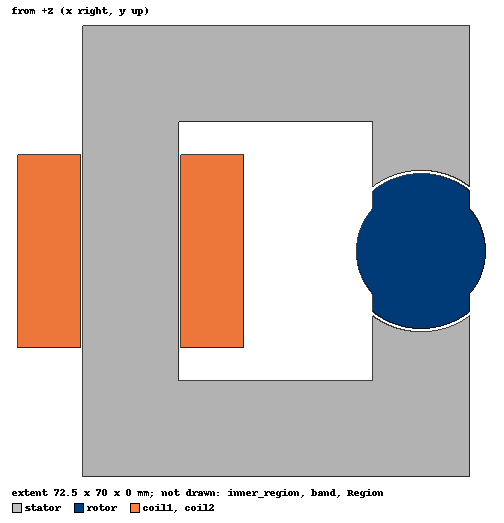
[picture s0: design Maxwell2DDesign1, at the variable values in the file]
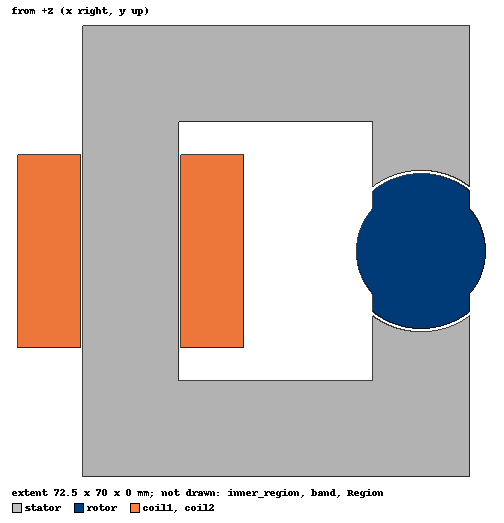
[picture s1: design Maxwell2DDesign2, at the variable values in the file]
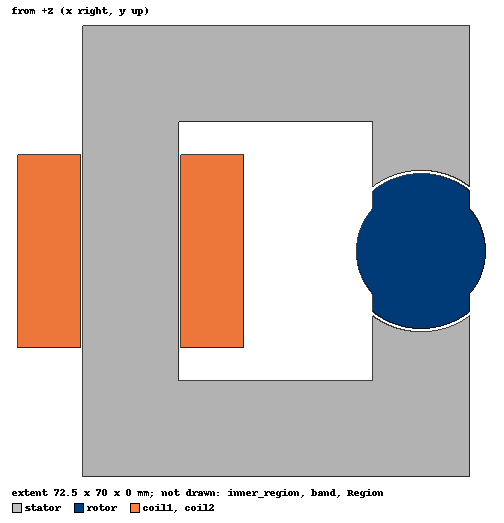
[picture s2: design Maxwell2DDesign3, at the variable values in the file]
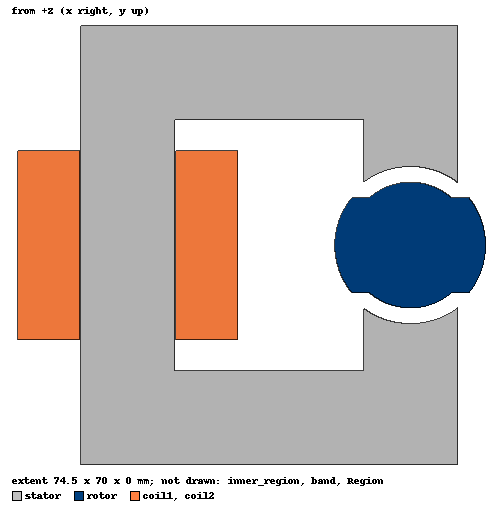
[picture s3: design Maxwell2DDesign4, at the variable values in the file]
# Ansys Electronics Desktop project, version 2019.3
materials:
  vacuum: permittivity=1
  iron: permeability=4000 conductivity=10300000
  copper: permeability=0.999991 conductivity=58000000
  steel_1008: permeability{HUnit=A_per_meter BUnit=tesla curve (0, 0) (159.2, 0.2402) (318.3, 0.8654) (477.5, 1.1106) (636.6, 1.2458) (795.8, 1.331) (1591.5, 1.5) (3183.1, 1.6) (4774.6, 1.683) (6366.2, 1.741) (7957.7, 1.78) (15915.5, 1.905) (31831, 2.025) (47746.5, 2.085) (63662, 2.13) (79577.5, 2.165) (159155, 2.28) (318310, 2.485) (397887, 2.5851)} conductivity=2000000

design Maxwell2DDesign1 (Maxwell 2D, Transient, XY geometry, model units mm)
options: ComputeTransientInductance ModelDepth=0.02meter Multiplier=1
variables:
  current = 3A
  turn = 250
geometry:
  Circle1 = circle(normal=Z, centre=(0mm, 0mm, 0mm), radius=12mm)
  rotor [iron] = circle(normal=Z, centre=(0mm, 0mm, 0mm), radius=10mm)
  Rectangle1 = rectangle(corner=(-7.5mm, 16mm, 0mm), x_size=15mm, y_size=-33mm)
  Rectangle1.intersect(Circle1)
  rotor.unite(Rectangle1)
  stator [iron] = rectangle(corner=(-52.5mm, 35mm, 0mm), x_size=60mm, y_size=-70mm)
  Rectangle3 = rectangle(corner=(-37.5mm, 20mm, 0mm), x_size=30mm, y_size=-40mm)
  stator.subtract(Rectangle3)
  Circle2 = circle(normal=Z, centre=(0mm, 0mm, 0mm), radius=12.5mm)
  stator.subtract(Circle2)
  coil1 [copper] = rectangle(corner=(-62.5mm, -15mm, 0mm), x_size=9.8mm, y_size=30mm)
  coil2 [copper] = rectangle(corner=(-27.5mm, -15mm, 0mm), x_size=-9.8mm, y_size=30mm)
  Region [vacuum] = region(percentage_offset: +X=100, -X=100, +Y=100, -Y=100, +Z=0, -Z=0)
  inner_region [vacuum] = circle(normal=Z, centre=(0mm, 0mm, 0mm), radius=12.126417mm)
  band [vacuum] = circle(normal=Z, centre=(0mm, 0mm, 0mm), radius=12.329335mm)
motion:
  MotionSetup1: Band Move_Type=Rotate Coordinate_System=Global Axis=Z Is_Positive=true InitPos=45deg Angular_Velocity=0rpm Moment_of_Inertia=1.8667553e-07 Damping=0 Load_Torque=0NewtonMeter Objects=band
  Moving1: Moving Objects=[rotor, inner_region]
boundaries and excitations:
  VectorPotential1: Vector Potential Edges=Region.edge(all 4) Value=0
  Current1: Current Objects=coil1 Current=current*turn IsSolid=false IsPositive=true
  Current2: Current Objects=coil2 Current=current*turn IsSolid=false IsPositive=false
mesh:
  SurfApprox1: SurfApproxBased Objects=[stator, rotor] CurvedSurfaceApproxChoice=UseSlider SliderMeshSettings=7
  initial mesh: MeshMethod=AnsoftTAU
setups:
  Setup1: Transient NonlinearSolverResidual=0.0001 StopTime=0.1s TimeStep=0.2ms SaveFieldsType="Every N Steps" N_Steps=1 Steps_From=0s Steps_To=1s NumberSolveSteps=1 RangeStart=0s RangeEnd=0.1s InitialTimeStep=0.002s MinTimeStep=0.001s MaxTimeStep=0.003s TimeStepErrTolerance=0.0001
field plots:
  Mag_B1: B over rotor, stator, coil1, coil2, Region, inner_region, band on Setup1 : Transient at Time=-1
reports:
  Torque Plot 1: Moving1.Torque vs Time on Setup1 : Transient
  Speed Plot 1: Moving1.Speed vs Time on Setup1 : Transient
  Position Plot 1: Moving1.Position vs Time on Setup1 : Transient
  Torque Plot 2: Moving1.LoadTorque, Moving1.Position, Moving1.Torque vs Time on Setup1 : Transient

design Maxwell2DDesign2 (Maxwell 2D, Magnetostatic, XY geometry, model units mm)
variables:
  current = 3A
  turn = 250
  angle = 0deg
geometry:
  Circle1 = circle(normal=Z, centre=(0mm, 0mm, 0mm), radius=12mm)
  rotor [steel_1008] = circle(normal=Z, centre=(0mm, 0mm, 0mm), radius=10mm)
  Rectangle1 = rectangle(corner=(-7.5mm, 16mm, 0mm), x_size=15mm, y_size=-33mm)
  Rectangle1.intersect(Circle1)
  rotor.unite(Rectangle1)
  stator [steel_1008] = rectangle(corner=(-52.5mm, 35mm, 0mm), x_size=60mm, y_size=-70mm)
  Rectangle3 = rectangle(corner=(-37.5mm, 20mm, 0mm), x_size=30mm, y_size=-40mm)
  stator.subtract(Rectangle3)
  Circle2 = circle(normal=Z, centre=(0mm, 0mm, 0mm), radius=12.5mm)
  stator.subtract(Circle2)
  coil1 [copper] = rectangle(corner=(-62.5mm, -15mm, 0mm), x_size=9.8mm, y_size=30mm)
  coil2 [copper] = rectangle(corner=(-27.5mm, -15mm, 0mm), x_size=-9.8mm, y_size=30mm)
  Region [vacuum] = region(percentage_offset: +X=100, -X=100, +Y=100, -Y=100, +Z=0, -Z=0)
  inner_region [vacuum] = circle(normal=Z, centre=(0mm, 0mm, 0mm), radius=12.126417mm)
  band [vacuum] = circle(normal=Z, centre=(0mm, 0mm, 0mm), radius=12.329335mm)
  rotor.rotate(axis=Z, angle=angle)
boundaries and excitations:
  VectorPotential1: Vector Potential Edges=Region.edge(all 4) Value=0
  Current1: Current Objects=coil1 Current=current*turn IsPositive=true
  Current2: Current Objects=coil2 Current=current*turn IsPositive=false
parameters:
  Matrix1: Matrix Current1: NumberOfTurns=turn ReturnPath=Current2
  Torque1: Torque Coordinate_System=Global Is_Positive=true Objects=rotor
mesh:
  SurfApprox1: SurfApproxBased Objects=[stator, rotor] CurvedSurfaceApproxChoice=UseSlider SliderMeshSettings=7
  initial mesh: MeshMethod=AnsoftTAU
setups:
  Setup1: Magnetostatic MaximumPasses=10 MinimumPasses=2 MinimumConvergedPasses=1 PercentRefinement=50 PercentError=1 NonLinearResidual=0.0001
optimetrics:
  ParametricSetup1: Parametric Sim._Setups=[Setup1]
    sweep angle: LIN 0deg 90deg 45deg
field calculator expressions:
  rotor_energy = energy | EnterVolume(rotor) | VolumeValue | Integrate
  stator_energy = energy | EnterVolume(stator) | VolumeValue | Integrate
  rotor_coenergy = coEnergy | EnterVolume(rotor) | VolumeValue | Integrate
  stator_coenergy = coEnergy | EnterVolume(stator) | VolumeValue | Integrate
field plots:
  Mag_B1, B_Vector1: B over rotor, stator, coil1, coil2, Region, inner_region, band on Setup1 : LastAdaptive
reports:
  L Plot 1: Matrix1.L(Current1,Current1)/50 vs angle on Setup1 : LastAdaptive [current=all]
  L Table 1: Matrix1.L(Current1,Current1)/50 vs angle on Setup1 : LastAdaptive [current=all]
  both energies: (rotor_energy+stator_energy)/50, (rotor_coenergy+stator_coenergy)/50 vs angle on Setup1 : LastAdaptive [current=all]
  coenergy: (rotor_coenergy+stator_coenergy)/50 vs angle on Setup1 : LastAdaptive [current=all]
  enerrgy: (rotor_energy+stator_energy)/50 vs angle on Setup1 : LastAdaptive [current=all]

design Maxwell2DDesign3 (Maxwell 2D, Transient, XY geometry, model units mm)
options: ComputeTransientInductance ModelDepth=0.02meter Multiplier=1
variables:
  current = 3A
  turn = 250
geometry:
  Circle1 = circle(normal=Z, centre=(0mm, 0mm, 0mm), radius=12mm)
  rotor [iron] = circle(normal=Z, centre=(0mm, 0mm, 0mm), radius=10mm)
  Rectangle1 = rectangle(corner=(-7.5mm, 16mm, 0mm), x_size=15mm, y_size=-33mm)
  Rectangle1.intersect(Circle1)
  rotor.unite(Rectangle1)
  stator [iron] = rectangle(corner=(-52.5mm, 35mm, 0mm), x_size=60mm, y_size=-70mm)
  Rectangle3 = rectangle(corner=(-37.5mm, 20mm, 0mm), x_size=30mm, y_size=-40mm)
  stator.subtract(Rectangle3)
  Circle2 = circle(normal=Z, centre=(0mm, 0mm, 0mm), radius=12.5mm)
  stator.subtract(Circle2)
  coil1 [copper] = rectangle(corner=(-62.5mm, -15mm, 0mm), x_size=9.8mm, y_size=30mm)
  coil2 [copper] = rectangle(corner=(-27.5mm, -15mm, 0mm), x_size=-9.8mm, y_size=30mm)
  Region [vacuum] = region(percentage_offset: +X=100, -X=100, +Y=100, -Y=100, +Z=0, -Z=0)
  inner_region [vacuum] = circle(normal=Z, centre=(0mm, 0mm, 0mm), radius=12.126417mm)
  band [vacuum] = circle(normal=Z, centre=(0mm, 0mm, 0mm), radius=12.329335mm)
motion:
  MotionSetup1: Band Move_Type=Rotate Coordinate_System=Global Axis=Z Is_Positive=true InitPos=45deg Angular_Velocity=0rpm Moment_of_Inertia=1.8667553e-07 Damping=0 Load_Torque=0NewtonMeter Objects=band
  Moving1: Moving Objects=[rotor, inner_region]
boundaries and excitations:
  VectorPotential1: Vector Potential Edges=Region.edge(all 4) Value=0
  Current1: Current Objects=coil1 Current=current*turn IsSolid=false IsPositive=true
  Current2: Current Objects=coil2 Current=current*turn IsSolid=false IsPositive=false
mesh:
  SurfApprox1: SurfApproxBased Objects=[stator, rotor] CurvedSurfaceApproxChoice=UseSlider SliderMeshSettings=7
  initial mesh: MeshMethod=AnsoftTAU
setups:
  Setup1: Transient NonlinearSolverResidual=0.0001 StopTime=0.1s TimeStep=0.2ms SaveFieldsType="Every N Steps" N_Steps=1 Steps_From=0s Steps_To=1s NumberSolveSteps=1 RangeStart=0s RangeEnd=0.1s InitialTimeStep=0.002s MinTimeStep=0.001s MaxTimeStep=0.003s TimeStepErrTolerance=0.0001
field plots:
  Mag_B1: B over rotor, stator, coil1, coil2, Region, inner_region, band on Setup1 : Transient at Time=-1
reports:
  Torque Plot 1: Moving1.Torque vs Time on Setup1 : Transient
  Speed Plot 1: Moving1.Speed vs Time on Setup1 : Transient
  Position Plot 1: Moving1.Position vs Time on Setup1 : Transient
  Torque Plot 2: Moving1.LoadTorque, Moving1.Position, Moving1.Torque vs Time on Setup1 : Transient

design Maxwell2DDesign4 (Maxwell 2D, Magnetostatic, XY geometry, model units mm)
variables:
  current = 3A
  turn = 250
  angle = 90deg
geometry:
  Circle1 = circle(normal=Z, centre=(0mm, 0mm, 0mm), radius=12mm)
  rotor [iron] = circle(normal=Z, centre=(0mm, 0mm, 0mm), radius=10mm)
  Rectangle1 = rectangle(corner=(-7.5mm, 16mm, 0mm), x_size=15mm, y_size=-33mm)
  Rectangle1.intersect(Circle1)
  rotor.unite(Rectangle1)
  stator [iron] = rectangle(corner=(-52.5mm, 35mm, 0mm), x_size=60mm, y_size=-70mm)
  Rectangle3 = rectangle(corner=(-37.5mm, 20mm, 0mm), x_size=30mm, y_size=-40mm)
  stator.subtract(Rectangle3)
  Circle2 = circle(normal=Z, centre=(0mm, 0mm, 0mm), radius=12.5mm)
  stator.subtract(Circle2)
  coil1 [copper] = rectangle(corner=(-62.5mm, -15mm, 0mm), x_size=9.8mm, y_size=30mm)
  coil2 [copper] = rectangle(corner=(-27.5mm, -15mm, 0mm), x_size=-9.8mm, y_size=30mm)
  Region [vacuum] = region(percentage_offset: +X=100, -X=100, +Y=100, -Y=100, +Z=0, -Z=0)
  inner_region [vacuum] = circle(normal=Z, centre=(0mm, 0mm, 0mm), radius=12.126417mm)
  band [vacuum] = circle(normal=Z, centre=(0mm, 0mm, 0mm), radius=12.329335mm)
  rotor.rotate(axis=Z, angle=angle)
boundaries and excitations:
  VectorPotential1: Vector Potential Edges=Region.edge(all 4) Value=0
  Current1: Current Objects=coil1 Current=current*turn IsPositive=true
  Current2: Current Objects=coil2 Current=current*turn IsPositive=false
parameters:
  Matrix1: Matrix Current1: NumberOfTurns=turn ReturnPath=Current2
  Torque1: Torque Coordinate_System=Global Is_Positive=true Objects=rotor
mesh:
  SurfApprox1: SurfApproxBased Objects=[stator, rotor] CurvedSurfaceApproxChoice=UseSlider SliderMeshSettings=7
  initial mesh: MeshMethod=AnsoftTAU
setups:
  Setup1: Magnetostatic MaximumPasses=10 MinimumPasses=2 MinimumConvergedPasses=1 PercentRefinement=50 PercentError=1 NonLinearResidual=0.0001
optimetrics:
  ParametricSetup1: Parametric Sim._Setups=[Setup1]
    sweep angle: LIN -90deg 90deg 2deg
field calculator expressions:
  rotor_energy = energy | EnterVolume(rotor) | VolumeValue | Integrate
  stator_energy = energy | EnterVolume(stator) | VolumeValue | Integrate
  rotor_coenergy = coEnergy | EnterVolume(rotor) | VolumeValue | Integrate
  stator_coenergy = coEnergy | EnterVolume(stator) | VolumeValue | Integrate
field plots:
  Mag_B1, B_Vector1: B over rotor, stator, coil1, coil2, Region, inner_region, band on Setup1 : LastAdaptive
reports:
  L Plot 1: Matrix1.L(Current1,Current1)/50 vs angle on Setup1 : LastAdaptive
  L Table 1: Matrix1.L(Current1,Current1)/50 vs angle on Setup1 : LastAdaptive [current=all]
  both energies: (rotor_energy+stator_energy)/50, (rotor_coenergy+stator_coenergy)/50 vs angle on Setup1 : LastAdaptive [current=all]
  coenergy: (rotor_coenergy+stator_coenergy)/50 vs angle on Setup1 : LastAdaptive [current=all]
  enerrgy: (rotor_energy+stator_energy)/50 vs angle on Setup1 : LastAdaptive [current=all]
  Torque Plot 1: Torque1.Torque/50 vs angle on Setup1 : LastAdaptive
   Plot 1: Matrix1.L(Current1,Current1)/50 vs angle on Setup1 : LastAdaptive
